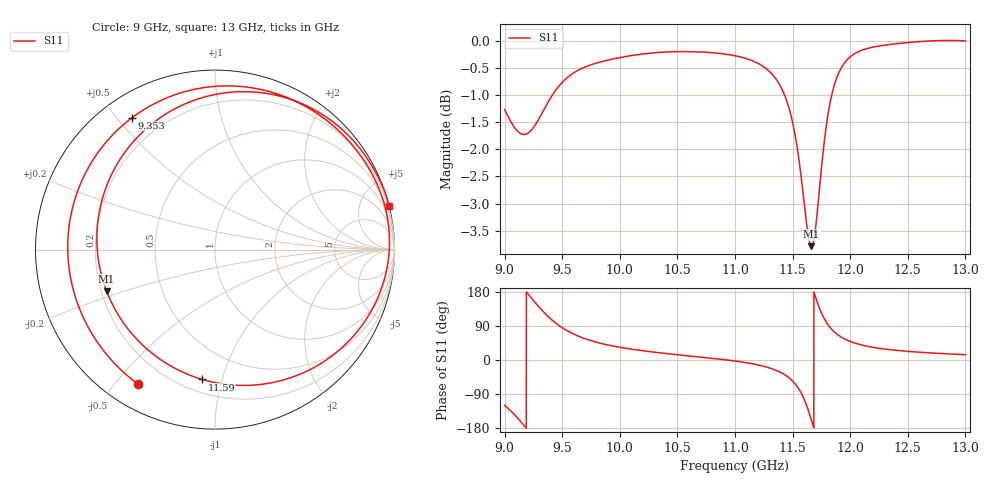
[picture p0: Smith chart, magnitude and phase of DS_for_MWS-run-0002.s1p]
! TOUCHSTONE file generated by CST DESIGN STUDIO
! Date and time: Tue Feb  4 13:58:03 2025
! Project name: C:\Work\MatlabApps\UnitCellOptimizationMatlab\CST\unitcell.cst
! Tree item: Tasks\Sweep1\SPara1\S-Parameters
! Header version: 2024
! Port assignment regex: !\s*Touchstone port\s*([0-9]+)\s*=\s*(CST MWS port|CST DES external port|CST DES block port)\s*(.+)\s* \(\"(.*)\"\)(\s*mode\s*([0-9]+))?.*
! Touchstone port assignment:
! Touchstone port 1 = CST DES external port 1 ("")
# GHz S MA R 50
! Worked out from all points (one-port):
!   4001 points, 9 GHz to 13 GHz, reference 50 ohm
!   lowest |S11| = -3.8 dB at 11.66 GHz (marker M1), VSWR 4.66, Z = 11.1 - j8.81 ohm
!   |S11| at or under -10 dB: nowhere
!   S11 on the Smith chart (normalised r, x): 9 GHz: 0.10, -0.58; 9.353 GHz: 0.09, +0.55; 11.59 GHz: 0.28, -0.87; 13 GHz: 0.02, +8.13
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9  0.8641 -119.6
9.086  0.8318 -144.3
9.189  0.8204 179.8
9.264  0.8357 152.1
9.353  0.8682 122.1
9.422  0.8932 102.8
9.5  0.9152 85.3
9.599  0.9338 68.5
9.709  0.9465 55.0
10  0.9645 33.5
10.5  0.9767 13.9
11  0.9682 -2.6
11.331  0.9289 -24.3
11.427  0.8926 -38.1
11.5  0.8408 -55.6
11.551  0.7827 -74.8
11.589  0.7268 -95.6
11.626  0.6729 -123.2
11.664  0.6468 -159.0
11.689  0.6599 175.9
11.715  0.6967 151.5
11.753  0.7679 122.2
11.791  0.8325 100.4
11.885  0.9251 68.3
12  0.966 49.0
12.186  0.9855 34.1
12.5  0.9957 22.8
13  0.9994 14.0
